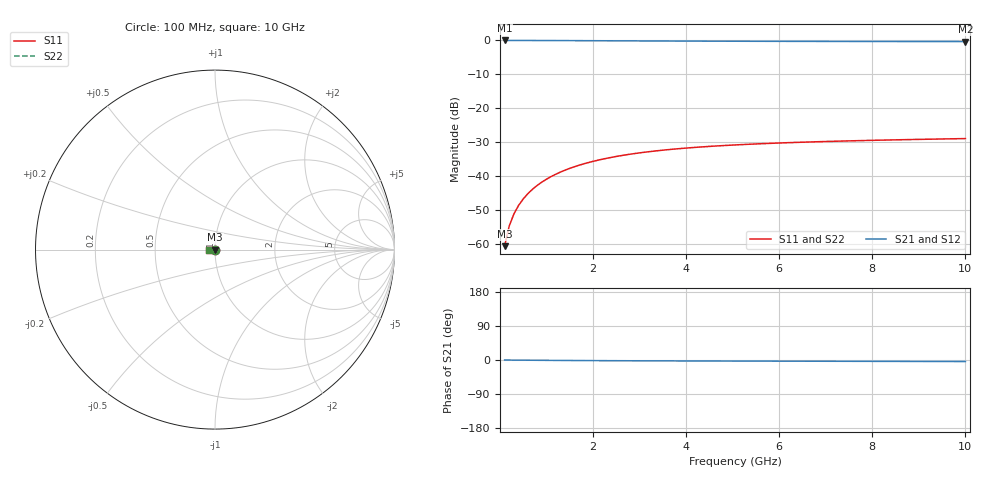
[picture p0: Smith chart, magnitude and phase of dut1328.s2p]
! Touchstone file exported from HFSS 2024.1.0
!  File:  C:/UserFiles/LocalFiles/RDL_TSV_Batchsim/temp_TSV1_1328_1780375015.aedt
!  Generated:  12:42:47 PM Jun  2, 2026
!  Design:  TSV1
!  Project:  temp_TSV1_1328_1780375015
!  Setup:  Setup1
!  Solution:  Sweep
! Variables:
!  dtsv = 9.6um
!  hbump = 3um
!  htsv = 61.61um
!  lrdl = 252.1521522um
!  p = 40
!  p1 = 45.12um
!  t = 500um
!  trdl = 3um
!  wrdl = 24.89489489um
# GHz S MA R 50.000000
! Terminal data exported
! Port[1] = TSV22_T1
! Port[2] = TSV22_T2
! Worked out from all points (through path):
!   100 points, 100 MHz to 10 GHz, reference 50 ohm
!   highest |S21| = 0.00 dB at 100 MHz (marker M1); lowest = -0.3 dB at 10 GHz (marker M2)
!   lowest |S11| = -60.5 dB at 100 MHz (marker M3), VSWR 1.00, Z = 50 - j0.0933 ohm
!   |S11| at or under -10 dB: start of sweep to end of sweep
!   |S22| runs from -60.5 to -28.9 dB; largest |S21 - S12| = 4.1e-15
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0.1  0.0009393 -83.3  0.9998 -0.1  0.9998 -0.1  0.0009393 -83.3
! Gamma 0 0 0 0
! Port Impedance 50 0 50 0
0.2  0.001869 -89.0  0.9997 -0.2  0.9997 -0.2  0.001869 -89.0
0.3  0.002802 -92.0  0.9996 -0.3  0.9996 -0.3  0.002802 -92.0
0.4  0.003732 -94.4  0.9994 -0.4  0.9994 -0.4  0.003732 -94.4
0.5  0.004654 -96.5  0.9991 -0.5  0.9991 -0.5  0.004654 -96.5
0.6  0.005568 -98.5  0.9988 -0.6  0.9988 -0.6  0.005568 -98.5
0.7  0.006469 -100.4  0.9985 -0.6  0.9985 -0.6  0.006469 -100.4
0.8  0.007358 -102.2  0.9981 -0.7  0.9981 -0.7  0.007358 -102.2
0.9  0.008233 -104.0  0.9976 -0.8  0.9976 -0.8  0.008233 -104.0
1.1  0.009933 -107.4  0.9966 -1.0  0.9966 -1.0  0.009933 -107.4
1.4  0.01235 -112.2  0.9949 -1.2  0.9949 -1.2  0.01235 -112.2
1.6  0.01386 -115.3  0.9937 -1.4  0.9937 -1.4  0.01386 -115.3
1.8  0.01529 -118.2  0.9923 -1.5  0.9923 -1.5  0.01529 -118.2
2.1  0.01727 -122.4  0.9903 -1.7  0.9903 -1.7  0.01727 -122.4
2.5  0.01964 -127.6  0.9876 -1.9  0.9876 -1.9  0.01964 -127.6
2.9  0.0217 -132.3  0.9849 -2.1  0.9849 -2.1  0.0217 -132.3
3.4  0.0239 -137.6  0.9819 -2.3  0.9819 -2.3  0.0239 -137.6
4.2  0.02671 -145.0  0.9776 -2.6  0.9776 -2.6  0.02671 -145.0
5.1  0.02912 -152.1  0.9737 -2.8  0.9737 -2.8  0.02912 -152.1
6.7  0.03214 -162.1  0.9686 -3.2  0.9686 -3.2  0.03214 -162.1
8.4  0.03436 -170.6  0.9649 -3.7  0.9649 -3.7  0.03436 -170.6
10  0.03597 -177.2  0.9626 -4.1  0.9626 -4.1  0.03597 -177.2
